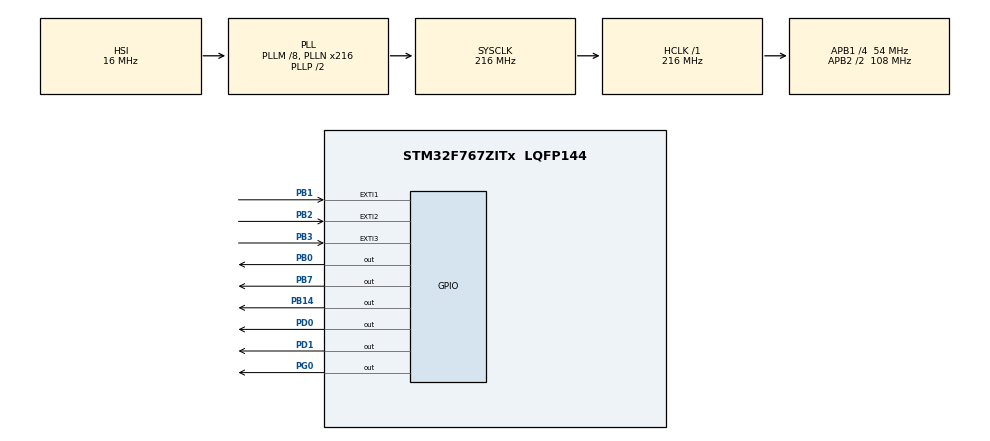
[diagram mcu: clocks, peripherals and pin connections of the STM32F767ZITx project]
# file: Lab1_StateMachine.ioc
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CORTEX_M7.default_mode_Activation=1
Mcu.Family=STM32F7
Mcu.Name=STM32F767ZITx
Mcu.Package=LQFP144
NVIC.EXTI1_IRQn=true\:1\:0\:true\:false\:true\:true\:true\:true
NVIC.EXTI2_IRQn=true\:1\:0\:true\:false\:true\:true\:true\:true
NVIC.EXTI3_IRQn=true\:1\:0\:true\:false\:true\:true\:true\:true
NVIC.PriorityGroup=NVIC_PRIORITYGROUP_1
PB0.Signal=GPIO_Output
PB1.Signal=GPXTI1
PB14.Signal=GPIO_Output
PB2.Signal=GPXTI2
PB3.Signal=GPXTI3
PB7.Signal=GPIO_Output
PD0.Signal=GPIO_Output
PD1.Signal=GPIO_Output
PG0.Signal=GPIO_Output
ProjectManager.HeapSize=0x200
ProjectManager.StackSize=0x400
ProjectManager.TargetToolchain=STM32CubeIDE
RCC.AHBFreq_Value=216000000
RCC.APB1CLKDivider=RCC_HCLK_DIV4
RCC.APB1Freq_Value=54000000
RCC.APB1TimFreq_Value=108000000
RCC.APB2CLKDivider=RCC_HCLK_DIV2
RCC.APB2Freq_Value=108000000
RCC.APB2TimFreq_Value=216000000
RCC.CortexFreq_Value=216000000
RCC.HCLKFreq_Value=216000000
RCC.HSE_VALUE=25000000
RCC.HSI_VALUE=16000000
RCC.LSE_VALUE=32768
RCC.PLLM=8
RCC.PLLN=216
RCC.SYSCLKFreq_VALUE=216000000
RCC.SYSCLKSource=RCC_SYSCLKSOURCE_PLLCLK
RCC.USBFreq_Value=216000000
RCC.VCOOutputFreq_Value=432000000
board=custom

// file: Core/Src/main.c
/* USER CODE BEGIN Header */
/**
  ******************************************************************************
  * @file           : main.c
  * @brief          : Main program body
  ******************************************************************************
  * @attention
  *
  * Copyright (c) 2026 STMicroelectronics.
  * All rights reserved.
  *
  * This software is licensed under terms that can be found in the LICENSE file
  * in the root directory of this software component.
  * If no LICENSE file comes with this software, it is provided AS-IS.
  *
  ******************************************************************************
  */
/* USER CODE END Header */
#include "main.h"

/* USER CODE BEGIN PV */
volatile uint8_t state = 0;
typedef enum {
	Internal_Led,
	External_Led,
} Led_Selector_State;
volatile Led_Selector_State currentLed = Internal_Led;
volatile uint32_t last_btn_tick = 0;
#define DEBOUNCE_MS 200

/* USER CODE END PV */

void SystemClock_Config(void);
static void MPU_Config(void);
static void MX_GPIO_Init(void);
/* USER CODE BEGIN PFP */
void State_Action(uint8_t s);
void Display_InternalLed(uint8_t s);
void Display_ExternalLed(uint8_t s);
void Display_CLEARLED(void);
/* USER CODE END PFP */

int main(void)
{

  /* MPU Configuration--------------------------------------------------------*/
  MPU_Config();

  /* MCU Configuration--------------------------------------------------------*/

  /* Reset of all peripherals, Initializes the Flash interface and the Systick. */
  HAL_Init();

  /* Configure the system clock */
  SystemClock_Config();

  /* Initialize all configured peripherals */
  MX_GPIO_Init();

  /* Infinite loop */
  while (1)
  {
	  State_Action(state);
	  HAL_Delay(200);
  }
}

void SystemClock_Config(void)
{
  RCC_OscInitTypeDef RCC_OscInitStruct = {0};
  RCC_ClkInitTypeDef RCC_ClkInitStruct = {0};

  /** Configure the main internal regulator output voltage
  */
  __HAL_RCC_PWR_CLK_ENABLE();
  __HAL_PWR_VOLTAGESCALING_CONFIG(PWR_REGULATOR_VOLTAGE_SCALE1);

  /** Initializes the RCC Oscillators according to the specified parameters
  * in the RCC_OscInitTypeDef structure.
  */
  RCC_OscInitStruct.OscillatorType = RCC_OSCILLATORTYPE_HSI;
  RCC_OscInitStruct.HSIState = RCC_HSI_ON;
  RCC_OscInitStruct.HSICalibrationValue = RCC_HSICALIBRATION_DEFAULT;
  RCC_OscInitStruct.PLL.PLLState = RCC_PLL_ON;
  RCC_OscInitStruct.PLL.PLLSource = RCC_PLLSOURCE_HSI;
  RCC_OscInitStruct.PLL.PLLM = 8;
  RCC_OscInitStruct.PLL.PLLN = 216;
  RCC_OscInitStruct.PLL.PLLP = RCC_PLLP_DIV2;
  RCC_OscInitStruct.PLL.PLLQ = 2;
  RCC_OscInitStruct.PLL.PLLR = 2;
  if (HAL_RCC_OscConfig(&RCC_OscInitStruct) != HAL_OK)
  {
    Error_Handler();
  }

  /** Activate the Over-Drive mode
  */
  if (HAL_PWREx_EnableOverDrive() != HAL_OK)
  {
    Error_Handler();
  }

  /** Initializes the CPU, AHB and APB buses clocks
  */
  RCC_ClkInitStruct.ClockType = RCC_CLOCKTYPE_HCLK|RCC_CLOCKTYPE_SYSCLK
                              |RCC_CLOCKTYPE_PCLK1|RCC_CLOCKTYPE_PCLK2;
  RCC_ClkInitStruct.SYSCLKSource = RCC_SYSCLKSOURCE_PLLCLK;
  RCC_ClkInitStruct.AHBCLKDivider = RCC_SYSCLK_DIV1;
  RCC_ClkInitStruct.APB1CLKDivider = RCC_HCLK_DIV4;
  RCC_ClkInitStruct.APB2CLKDivider = RCC_HCLK_DIV2;

  if (HAL_RCC_ClockConfig(&RCC_ClkInitStruct, FLASH_LATENCY_7) != HAL_OK)
  {
    Error_Handler();
  }
}

static void MX_GPIO_Init(void)
{
  GPIO_InitTypeDef GPIO_InitStruct = {0};

  /* GPIO Ports Clock Enable */
  __HAL_RCC_GPIOB_CLK_ENABLE();
  __HAL_RCC_GPIOG_CLK_ENABLE();
  __HAL_RCC_GPIOD_CLK_ENABLE();

  /*Configure GPIO pin Output Level */
  HAL_GPIO_WritePin(GPIOB, GPIO_PIN_0|GPIO_PIN_14|GPIO_PIN_7, GPIO_PIN_RESET);

  /*Configure GPIO pin Output Level */
  HAL_GPIO_WritePin(GPIOG, GPIO_PIN_0, GPIO_PIN_RESET);

  /*Configure GPIO pin Output Level */
  HAL_GPIO_WritePin(GPIOD, GPIO_PIN_0|GPIO_PIN_1, GPIO_PIN_RESET);

  /*Configure GPIO pins : PB0 PB14 PB7 */
  GPIO_InitStruct.Pin = GPIO_PIN_0|GPIO_PIN_14|GPIO_PIN_7;
  GPIO_InitStruct.Mode = GPIO_MODE_OUTPUT_PP;
  GPIO_InitStruct.Pull = GPIO_NOPULL;
  GPIO_InitStruct.Speed = GPIO_SPEED_FREQ_LOW;
  HAL_GPIO_Init(GPIOB, &GPIO_InitStruct);

  /*Configure GPIO pins : PB1 PB2 PB3 */
  GPIO_InitStruct.Pin = GPIO_PIN_1|GPIO_PIN_2|GPIO_PIN_3;
  GPIO_InitStruct.Mode = GPIO_MODE_IT_RISING;
  GPIO_InitStruct.Pull = GPIO_NOPULL;
  HAL_GPIO_Init(GPIOB, &GPIO_InitStruct);

  /*Configure GPIO pin : PG0 */
  GPIO_InitStruct.Pin = GPIO_PIN_0;
  GPIO_InitStruct.Mode = GPIO_MODE_OUTPUT_PP;
  GPIO_InitStruct.Pull = GPIO_NOPULL;
  GPIO_InitStruct.Speed = GPIO_SPEED_FREQ_LOW;
  HAL_GPIO_Init(GPIOG, &GPIO_InitStruct);

  /*Configure GPIO pins : PD0 PD1 */
  GPIO_InitStruct.Pin = GPIO_PIN_0|GPIO_PIN_1;
  GPIO_InitStruct.Mode = GPIO_MODE_OUTPUT_PP;
  GPIO_InitStruct.Pull = GPIO_NOPULL;
  GPIO_InitStruct.Speed = GPIO_SPEED_FREQ_LOW;
  HAL_GPIO_Init(GPIOD, &GPIO_InitStruct);

  /* EXTI interrupt init*/
  HAL_NVIC_SetPriority(EXTI1_IRQn, 1, 0);
  HAL_NVIC_EnableIRQ(EXTI1_IRQn);

  HAL_NVIC_SetPriority(EXTI2_IRQn, 1, 0);
  HAL_NVIC_EnableIRQ(EXTI2_IRQn);

  HAL_NVIC_SetPriority(EXTI3_IRQn, 1, 0);
  HAL_NVIC_EnableIRQ(EXTI3_IRQn);

}

/* USER CODE BEGIN 4 */
void State_Action(uint8_t s)
{
    switch (currentLed)
    {
        case Internal_Led:
            Display_InternalLed(s);
            break;

        case External_Led:
            Display_ExternalLed(s);
            break;
    }
}

void Display_InternalLed(uint8_t s)
{
    HAL_GPIO_WritePin(GPIOB, GPIO_PIN_0, (s & 0x01));
    HAL_GPIO_WritePin(GPIOB, GPIO_PIN_7, (s & 0x02));
    HAL_GPIO_WritePin(GPIOB, GPIO_PIN_14,(s & 0x04));
}

void Display_ExternalLed(uint8_t s)
{
    HAL_GPIO_WritePin(GPIOD, GPIO_PIN_0, (s & 0x01));
    HAL_GPIO_WritePin(GPIOD, GPIO_PIN_1, (s & 0x02));
    HAL_GPIO_WritePin(GPIOG, GPIO_PIN_0, (s & 0x04));
}

void Display_CLEARLED(void)
{
    HAL_GPIO_WritePin(GPIOD, GPIO_PIN_0, 0);
    HAL_GPIO_WritePin(GPIOD, GPIO_PIN_1, 0);
    HAL_GPIO_WritePin(GPIOG, GPIO_PIN_0, 0);

    HAL_GPIO_WritePin(GPIOB, GPIO_PIN_0, 0);
	HAL_GPIO_WritePin(GPIOB, GPIO_PIN_7, 0);
	HAL_GPIO_WritePin(GPIOB, GPIO_PIN_14,0);
}

void HAL_GPIO_EXTI_Callback(uint16_t GPIO_Pin)
{
	uint32_t now = HAL_GetTick();

	    // กันเด้ง
	    if ((now - last_btn_tick) < DEBOUNCE_MS)
	        return;

	    last_btn_tick = now;

    if ((GPIO_Pin == GPIO_PIN_1) || (GPIO_Pin == GPIO_PIN_2)) {
        if (state == 7){
        	state = 0;
        }
        else{
        	state++;
        }
    }
    else if (GPIO_Pin == GPIO_PIN_3) {
    	Display_CLEARLED();
        if (currentLed == Internal_Led){
        	currentLed = External_Led;
        }
        else{
        	currentLed = Internal_Led;
        }
    }
}

/* USER CODE END 4 */

 /* MPU Configuration */

void MPU_Config(void)
{
  MPU_Region_InitTypeDef MPU_InitStruct = {0};

  /* Disables the MPU */
  HAL_MPU_Disable();

  /** Initializes and configures the Region and the memory to be protected
  */
  MPU_InitStruct.Enable = MPU_REGION_ENABLE;
  MPU_InitStruct.Number = MPU_REGION_NUMBER0;
  MPU_InitStruct.BaseAddress = 0x0;
  MPU_InitStruct.Size = MPU_REGION_SIZE_4GB;
  MPU_InitStruct.SubRegionDisable = 0x87;
  MPU_InitStruct.TypeExtField = MPU_TEX_LEVEL0;
  MPU_InitStruct.AccessPermission = MPU_REGION_NO_ACCESS;
  MPU_InitStruct.DisableExec = MPU_INSTRUCTION_ACCESS_DISABLE;
  MPU_InitStruct.IsShareable = MPU_ACCESS_SHAREABLE;
  MPU_InitStruct.IsCacheable = MPU_ACCESS_NOT_CACHEABLE;
  MPU_InitStruct.IsBufferable = MPU_ACCESS_NOT_BUFFERABLE;

  HAL_MPU_ConfigRegion(&MPU_InitStruct);
  /* Enables the MPU */
  HAL_MPU_Enable(MPU_PRIVILEGED_DEFAULT);

}

void Error_Handler(void)
{
  __disable_irq();
  while (1)
  {
  }
}
